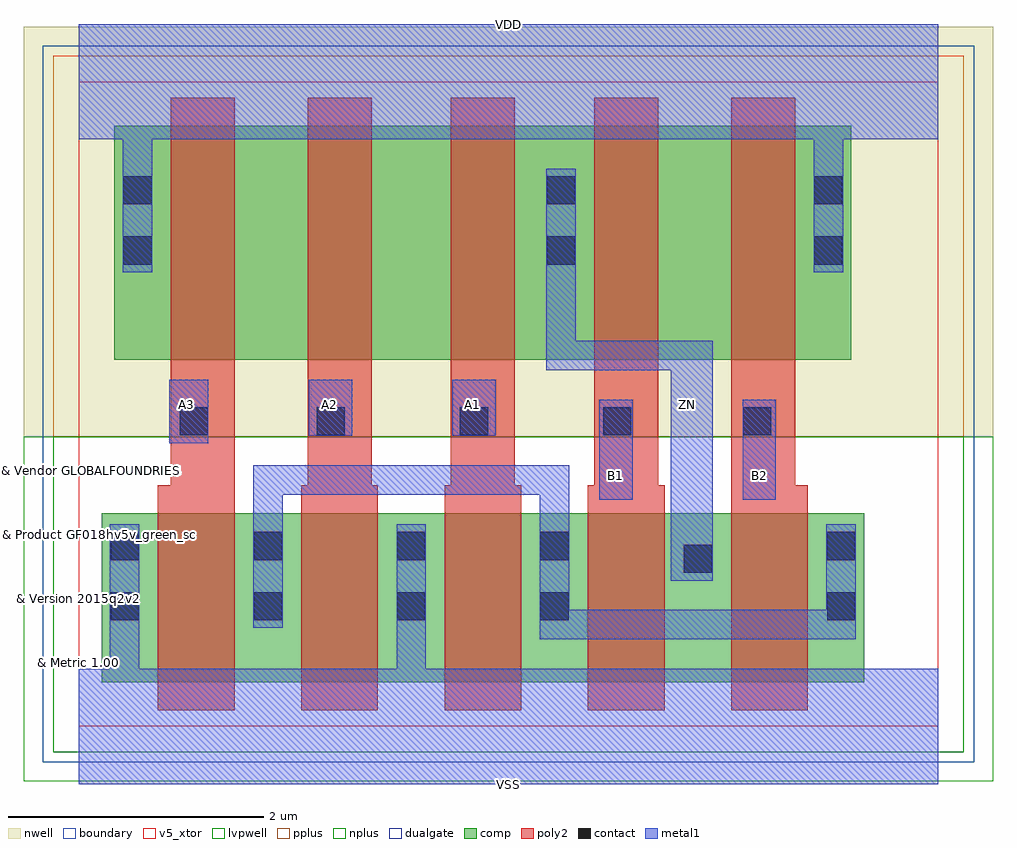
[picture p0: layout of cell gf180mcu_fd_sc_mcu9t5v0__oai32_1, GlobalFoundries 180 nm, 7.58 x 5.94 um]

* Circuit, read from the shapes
.subckt gf180mcu_fd_sc_mcu9t5v0__oai32_1 A1 A2 A3 B1 B2 VDD VSS ZN
XM1 n1 A3 VSS VSUBS nfet_05v0 w=1.32u l=0.6u
XM2 VSS A2 n1 VSUBS nfet_05v0 w=1.32u l=0.6u
XM3 n1 A1 VSS VSUBS nfet_05v0 w=1.32u l=0.6u
XM4 ZN B1 n1 VSUBS nfet_05v0 w=1.32u l=0.6u
XM5 n1 B2 ZN VSUBS nfet_05v0 w=1.32u l=0.6u
XM6 n2 A3 VDD n3 pfet_05v0 w=1.83u l=0.5u
XM7 n4 A2 n2 n3 pfet_05v0 w=1.83u l=0.5u
XM8 ZN A1 n4 n3 pfet_05v0 w=1.83u l=0.5u
XM9 n5 B1 ZN n3 pfet_05v0 w=1.83u l=0.5u
XM10 VDD B2 n5 n3 pfet_05v0 w=1.83u l=0.5u
.ends

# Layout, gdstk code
import gdstk
lib = gdstk.Library(unit=1e-6, precision=1e-09)
def R(c, l, rs):  # rectangles x0, y0, x1, y1
    for r in rs: c.add(gdstk.rectangle(r[:2], r[2:], *l))
def A(c, l, x, y, w, h, nx, ny, dx, dy):  # array of equal rectangles
    R(c, l, [(x+i*dx, y+j*dy, x+i*dx+w, y+j*dy+h) for i in range(nx) for j in range(ny)])
def P(c, l, *ps):  # polygons
    for p in ps: c.add(gdstk.Polygon(p, *l))
boundary = (0, 0)
nwell = (21, 0)
comp = (22, 0)
poly2 = (30, 0)
pplus = (31, 0)
nplus = (32, 0)
contact = (33, 0)
metal1 = (34, 0)
dualgate = (55, 0)
v5_xtor = (112, 1)
lvpwell = (204, 0)

gf180mcu_fd_sc_mcu9t5v0_ = lib.new_cell('gf180mcu_fd_sc_mcu9t5v0__oai32_1')
R(gf180mcu_fd_sc_mcu9t5v0_, boundary, [(0,0,6.72,5.04)])
R(gf180mcu_fd_sc_mcu9t5v0_, nwell, [(-0.43,2.265,7.15,5.47)])
R(gf180mcu_fd_sc_mcu9t5v0_, comp, [(0.18,0.345,6.14,1.665), (0.28,2.865,6.04,4.695)])
P(gf180mcu_fd_sc_mcu9t5v0_, poly2, [(0.62,0.125),(0.62,1.885),(0.72,1.885),(0.72,4.915),(1.22,4.915),(1.22,0.125)],
  [(1.74,0.125),(1.74,1.885),(1.79,1.885),(1.79,4.915),(2.29,4.915),(2.29,1.885),(2.34,1.885),(2.34,0.125)],
  [(2.86,0.125),(2.86,1.885),(2.91,1.885),(2.91,4.915),(3.41,4.915),(3.41,1.885),(3.46,1.885),(3.46,0.125)],
  [(3.98,0.125),(3.98,1.885),(4.03,1.885),(4.03,4.915),(4.53,4.915),(4.53,1.885),(4.58,1.885),(4.58,0.125)],
  [(5.1,0.125),(5.1,4.915),(5.6,4.915),(5.6,1.885),(5.7,1.885),(5.7,0.125)])
R(gf180mcu_fd_sc_mcu9t5v0_, pplus, [(-0.2,2.265,6.92,5.24)])
R(gf180mcu_fd_sc_mcu9t5v0_, nplus, [(-0.2,-0.2,6.92,2.265)])
A(gf180mcu_fd_sc_mcu9t5v0_, contact, 0.25, 0.83, 0.22, 0.22, 4, 2, 1.12, 0.47)
A(gf180mcu_fd_sc_mcu9t5v0_, contact, 1.86, 2.275, 0.22, 0.22, 3, 1, 1.12, 0)
R(gf180mcu_fd_sc_mcu9t5v0_, contact, [(5.85,0.83,6.07,1.05), (4.73,1.2,4.95,1.42), (5.85,1.3,6.07,1.52), (0.79,2.275,1.01,2.495), (5.195,2.275,5.415,2.495), (0.35,3.61,0.57,3.83), (3.66,3.61,3.88,3.83), (5.75,3.61,5.97,3.83), (0.35,4.08,0.57,4.3), (3.66,4.08,3.88,4.3), (5.75,4.08,5.97,4.3)])
R(gf180mcu_fd_sc_mcu9t5v0_, metal1, [(4.07,1.77,4.33,2.555), (5.19,1.77,5.45,2.555), (0.71,2.215,1.015,2.71), (1.8,2.27,2.14,2.71), (2.92,2.27,3.26,2.71)])
P(gf180mcu_fd_sc_mcu9t5v0_, metal1, [(4.63,1.14),(4.63,2.785),(3.655,2.785),(3.655,4.36),(3.885,4.36),(3.885,3.015),(4.955,3.015),(4.955,1.14)],
  [(3.605,0.68),(3.605,1.81),(1.595,1.81),(1.595,0.77),(1.365,0.77),(1.365,2.04),(3.835,2.04),(3.835,0.91),(5.845,0.91),(5.845,1.58),(6.075,1.58),(6.075,0.68)],
  [(0,-0.45),(0,0.45),(0.245,0.45),(0.245,1.58),(0.475,1.58),(0.475,0.45),(2.485,0.45),(2.485,1.58),(2.715,1.58),(2.715,0.45),(6.72,0.45),(6.72,-0.45)],
  [(0.345,3.55),(0.345,4.59),(0,4.59),(0,5.49),(6.72,5.49),(6.72,4.59),(5.975,4.59),(5.975,3.55),(5.745,3.55),(5.745,4.59),(0.575,4.59),(0.575,3.55)])
R(gf180mcu_fd_sc_mcu9t5v0_, dualgate, [(-0.28,-0.28,7,5.32)])
R(gf180mcu_fd_sc_mcu9t5v0_, v5_xtor, [(0,0,6.72,5.04)])
R(gf180mcu_fd_sc_mcu9t5v0_, lvpwell, [(-0.43,-0.43,7.15,2.265)])
gf180mcu_fd_sc_mcu9t5v0_.add(gdstk.Label('A1', (3.08,2.52), layer=34, texttype=10))
gf180mcu_fd_sc_mcu9t5v0_.add(gdstk.Label('A2', (1.96,2.52), layer=34, texttype=10))
gf180mcu_fd_sc_mcu9t5v0_.add(gdstk.Label('A3', (0.84,2.52), layer=34, texttype=10))
gf180mcu_fd_sc_mcu9t5v0_.add(gdstk.Label('B1', (4.2,1.96), layer=34, texttype=10))
gf180mcu_fd_sc_mcu9t5v0_.add(gdstk.Label('B2', (5.32,1.96), layer=34, texttype=10))
gf180mcu_fd_sc_mcu9t5v0_.add(gdstk.Label('VDD', (3.36,5.49), layer=34, texttype=10))
gf180mcu_fd_sc_mcu9t5v0_.add(gdstk.Label('VSS', (3.36,-0.45), layer=34, texttype=10))
gf180mcu_fd_sc_mcu9t5v0_.add(gdstk.Label('ZN', (4.76,2.52), layer=34, texttype=10))
gf180mcu_fd_sc_mcu9t5v0_.add(gdstk.Label('& Vendor GLOBALFOUNDRIES', (0,2), layer=63, texttype=63))
gf180mcu_fd_sc_mcu9t5v0_.add(gdstk.Label('& Product GF018hv5v_green_sc9', (0,1.5), layer=63, texttype=63))
gf180mcu_fd_sc_mcu9t5v0_.add(gdstk.Label('& Version 2015q2v2', (0,1), layer=63, texttype=63))
gf180mcu_fd_sc_mcu9t5v0_.add(gdstk.Label('& Metric 1.00', (0,0.5), layer=63, texttype=63))

lib.write_gds('gf180mcu_fd_sc_mcu9t5v0__oai32_1.gds')
